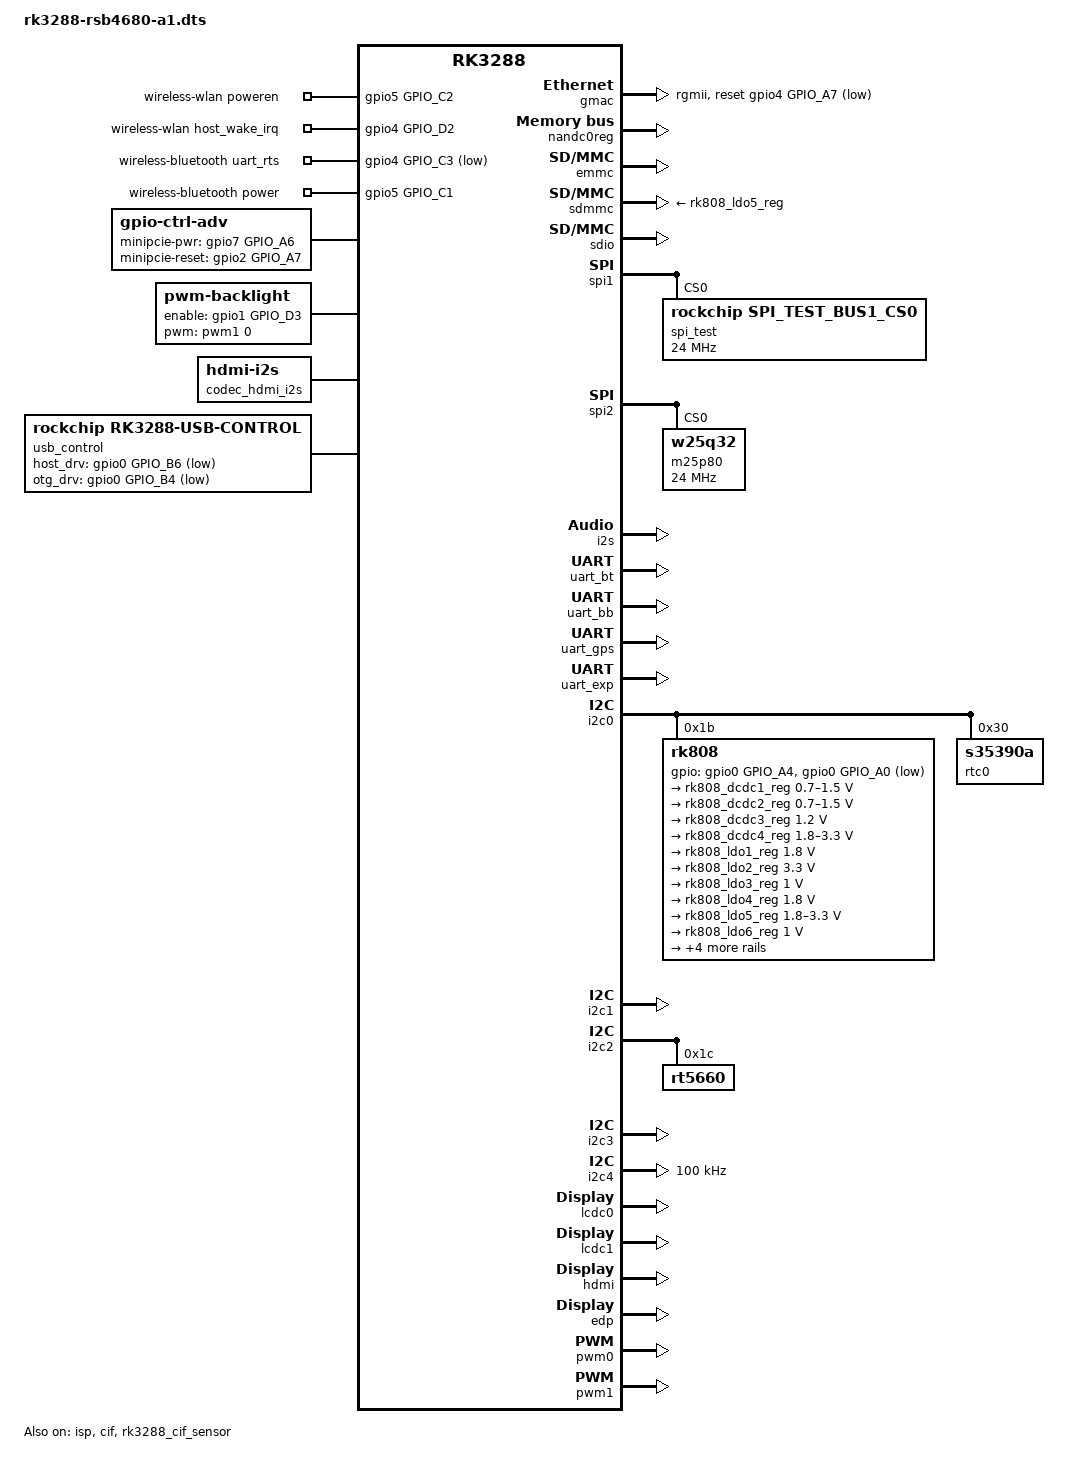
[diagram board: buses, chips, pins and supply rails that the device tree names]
/dts-v1/;

#include "rk3288.dtsi"
//#include "lcd-g070vw01.dtsi"
#include "lcd-g215hvn01.dtsi"
//#include "lcd-ch7517a.dtsi"
//#include "vtl_ts_sdk8846.dtsi"
#include "rk3288-adv-sensor.dtsi"
/ {
	fiq-debugger {
		status = "okay";
		rockchip,baudrate = <115200>;
	};

	wireless-wlan {
		compatible = "wlan-platdata";

		/* wifi_chip_type - wifi chip define
                 * ap6210, ap6330, ap6335
                 * rtl8188eu, rtl8723bs, rtl8723bu
                 * esp8089
		*/
		wifi_chip_type = "ap6212";

		sdio_vref = <1800>; //1800mv or 3300mv

        //keep_wifi_power_on;
/*
        //power_ctrl_by_pmu;
        power_pmu_regulator = "act_ldo3";
        power_pmu_enable_level = <1>; //1->HIGH, 0->LOW

        //vref_ctrl_enable;
        //vref_ctrl_gpio = <&gpio0 GPIO_A2 GPIO_ACTIVE_HIGH>;
        vref_pmu_regulator = "act_ldo3";
        vref_pmu_enable_level = <1>; //1->HIGH, 0->LOW
*/
        WIFI,poweren_gpio = <&gpio5 GPIO_C2 GPIO_ACTIVE_HIGH>;
        WIFI,host_wake_irq = <&gpio4 GPIO_D2 GPIO_ACTIVE_HIGH>;
        //WIFI,reset_gpio = <&gpio0 GPIO_A2 GPIO_ACTIVE_LOW>;

		status = "okay";
	};

	wireless-bluetooth {
		compatible = "bluetooth-platdata";

		//wifi-bt-power-toggle;

		uart_rts_gpios = <&gpio4 GPIO_C3 GPIO_ACTIVE_LOW>;
		pinctrl-names = "default","rts_gpio";
		pinctrl-0 = <&uart0_rts>;
		pinctrl-1 = <&uart0_rts_gpio>;

		BT,power_gpio = <&gpio5 GPIO_C1 GPIO_ACTIVE_HIGH>;
		//BT,reset_gpio = <&gpio4 GPIO_D5 GPIO_ACTIVE_HIGH>;
		//BT,wake_gpio = <&gpio4 GPIO_D2 GPIO_ACTIVE_HIGH>;
		//BT,wake_host_irq = <&gpio4 GPIO_D7 GPIO_ACTIVE_HIGH>;

		status = "okay";
	};

	gpio-ctrl-adv {
	        compatible = "gpio-ctrl-adv";
		minipcie-pwr-gpio = <&gpio7 GPIO_A6 GPIO_ACTIVE_HIGH>;
		minipcie-reset-gpio = <&gpio2 GPIO_A7 GPIO_ACTIVE_HIGH>;
		timing-interval = <10>;
		status = "okay";
	};
	backlight {
		compatible = "pwm-backlight";
		pwms = <&pwm1 0 25000>;
                brightness-levels = <0 1 2 3 4 5 6 7 8 9 10 11 12 13 14 15 16 17 18 19 20 21 22 23 24 25 26 27 28 29 30 31 32 33 34 35 36 37 38 39 40 41 42 43 44 45 46 47 48 49 50 51 52 53 54 55 56 57 58 59 60 61 62 63 64 65 66 67 68 69 70 71 72 73 74 75 76 77 78 79 80 81 82 83 84 85 86 87 88 89 90 91 92 93 94 95 96 97 98 99 100 101 102 103 104 105 106 107 108 109 110 111 112 113 114 115 116 117 118 119 120 121 122 123 124 125 126 127 128 129 130 131 132 133 134 135 136 137 138 139 140 141 142 143 144 145 146 147 148 149 150 151 152 153 154 155 156 157 158 159 160 161 162 163 164 165 166 167 168 169 170 171 172 173 174 175 176 177 178 179 180 181 182 183 184 185 186 187 188 189 190 191 192 193 194 195 196 197 198 199 200 201 202 203 204 205 206 207 208 209 210 211 212 213 214 215 216 217 218 219 220 221 222 223 224 225 226 227 228 229 230 231 232 233 234 235 236 237 238 239 240 241 242 243 244 245 246 247 248 249 250 251 252 253 254 255>;
		default-brightness-level = <200>;
		enable-gpios = <&gpio1 GPIO_D3 GPIO_ACTIVE_HIGH>;
	};

	codec_hdmi_i2s: codec-hdmi-i2s {
		compatible = "hdmi-i2s";
	};

	codec_hdmi_spdif: codec-hdmi-spdif {
		compatible = "hdmi-spdif";
		status = "disabled";
	};

	rockchip-hdmi-i2s {
		compatible = "rockchip-hdmi-i2s";
		dais {
			dai0 {
				audio-codec = <&codec_hdmi_i2s>;
				audio-controller = <&i2s>;
				format = "i2s";
				//continuous-clock;
				//bitclock-inversion;
				//frame-inversion;
				//bitclock-master;
				//frame-master;
			};
		};
	};
	
	rockchip-hdmi-spdif {
		status = "disabled";
		compatible = "rockchip-hdmi-spdif";
		dais {
			dai0 {
				audio-codec = <&codec_hdmi_spdif>;
				audio-controller = <&spdif>;
			};
		};
	};

	rockchip-rt5660 {
		compatible = "rockchip-rt5660";
		dais {
			dai0 {
				audio-codec = <&rt5660>;
				audio-controller = <&i2s>;
				format = "i2s";
				//continuous-clock;
				//bitclock-inversion;
				//frame-inversion;
				//bitclock-master;
				//frame-master;
			};
			dai1 {
				audio-codec = <&rt5660>;
				audio-controller = <&i2s>;
				format = "dsp_a";
				//continuous-clock;
				bitclock-inversion;
				//frame-inversion;
				//bitclock-master;
				//frame-master;
			};
		};
	};

	usb_control {
		compatible = "rockchip,rk3288-usb-control";

		host_drv_gpio = <&gpio0 GPIO_B6 GPIO_ACTIVE_LOW>;
		otg_drv_gpio = <&gpio0 GPIO_B4 GPIO_ACTIVE_LOW>;

		rockchip,remote_wakeup;
		rockchip,usb_irq_wakeup;
	};

	chosen {
		bootargs = "vmalloc=512M";
	};

	key {
		compatible = "rockchip,key";
		//pinctrl-names = "default";
		//pinctrl-0 = <&sleep_btn &power_btn>;

		sleep-key {
			gpios = <&gpio2 GPIO_A2 GPIO_ACTIVE_HIGH>;
			linux,code = <116>;
			label = "power";
			gpio-key,wakeup;
		};

		power-key {
			gpios = <&gpio2 GPIO_A5 GPIO_ACTIVE_LOW>;
			linux,code = <116>;
			label = "power";
			gpio-key,wakeup;
		};
	};		
};

&gmac {
//	power_ctl_by = "gpio";	//"gpio" "pmu"
//	power-gpio = <&gpio0 GPIO_A6 GPIO_ACTIVE_HIGH>;
//	power-pmu = "act_ldo"
	reset-gpio = <&gpio4 GPIO_A7 GPIO_ACTIVE_LOW>;
	phy-mode = "rgmii";
	clock_in_out = "input";//"input";
	tx_delay = <0>;//<0x28>;
	rx_delay = <0>;//<0x10>;
	status = "okay";
};

&pinctrl {
	//pinctrl-names = "default";
	//pinctrl-0 = <&bklt_en &lvds_vdd_en &wdt_pwn &wdt_en &gpio8_a0 &gpio8_a1 &gpio8_a2 &gpio8_a3>;

	//used for init some gpio
	init-gpios =</*&gpio0 GPIO_C2 GPIO_ACTIVE_HIGH */
			/*&gpio7 GPIO_B7 GPIO_ACTIVE_LOW */>;

	power_pin {
		sleep_btn:gpio2-a2 {
			rockchip,pins = <GPIO2_A2>;
			rockchip,pull = <VALUE_PULL_DOWN>;
		};

		power_btn:gpio2-a5 {
			rockchip,pins = <GPIO2_A5>;
			rockchip,pull = <VALUE_PULL_UP>;
		};
	};

	c8051_pin {
		wdt_pwn:gpio2-a4 {
			rockchip,pins = <GPIO2_A4>;
			rockchip,pull = <VALUE_PULL_DOWN>;
		};

		wdt_en:gpio2-a3 {
			rockchip,pins = <GPIO2_A3>;
			rockchip,pull = <VALUE_PULL_DOWN>;
		};
	};

	//could add other pinctrl definition such as gpio
	//lvds power gpio pinmux
	lvds_power_pin {
		bklt_en:gpio1_d3 {
			rockchip,pins = <GPIO1_D3>;
			rockchip,pull = <VALUE_PULL_DOWN>;
		};

		lvds_vdd_en:gpio1_d2 {
			rockchip,pins = <GPIO1_D2>;
			rockchip,pull = <VALUE_PULL_DOWN>;
		};
	};

	//minipcie power gpio pinmux
	minipcie_pin {
		minipcie_reset:gpio2_a7 {
			rockchip,pins = <GPIO2_A7>;
			rockchip,pull = <VALUE_PULL_DOWN>;
		};

		minipcie_dis:gpio2_b1 {
			rockchip,pins = <GPIO2_B1>;
			rockchip,pull = <VALUE_PULL_DOWN>;
		};
	};

	//M.2 power gpio pinmux
	m2_pin {
		m2_dis1:gpio5-c3 {
			rockchip,pins = <GPIO5_C3>;
			rockchip,pull = <VALUE_PULL_UP>;
		};

		m2_dis2:gpio5-c1 {
			rockchip,pins = <GPIO5_C1>;
			rockchip,pull = <VALUE_PULL_UP>;
		};

		m2_poweren:gpio4-d4 {
			rockchip,pins = <GPIO4_D4>;
			rockchip,pull = <VALUE_PULL_DOWN>;
		};

		m2_reset:gpio5-c2 {
			rockchip,pins = <GPIO5_C2>;
			rockchip,pull = <VALUE_PULL_UP>;
		};

		m2_sdio_wake:gpio4-d2 {
			rockchip,pins = <GPIO4_D2>;
			rockchip,pull = <VALUE_PULL_DOWN>;
		};

		m2_int:gpio4-d6 {
			rockchip,pins = <GPIO4_D6>;
			rockchip,pull = <VALUE_PULL_DOWN>;
		};
	};

	//normal user gpio pinmux
	normal_gpio_pin {
		gpio8_a0:gpio8-a0 {
			rockchip,pins = <GPIO8_A0>;
			rockchip,pull = <VALUE_PULL_DOWN>;
		};

		gpio8_a1:gpio8-a1 {
			rockchip,pins = <GPIO8_A1>;
			rockchip,pull = <VALUE_PULL_DOWN>;
		};

		gpio8_a2:gpio8-a2 {
			rockchip,pins = <GPIO8_A2>;
			rockchip,pull = <VALUE_PULL_DOWN>;
		};

		gpio8_a3:gpio8-a3 {
			rockchip,pins = <GPIO8_A3>;
			rockchip,pull = <VALUE_PULL_DOWN>;
		};

		/*default gpio,so donot config pinmux
		gpio7_a3:gpio3-a3 {
			rockchip,pins = <GPIO7_A3>;
			rockchip,pull = <VALUE_PULL_DOWN>;
		};

		gpio7_a4:gpio3-a4 {
			rockchip,pins = <GPIO7_A4>;
			rockchip,pull = <VALUE_PULL_DOWN>;
		};

		gpio7_a5:gpio3-a5 {
			rockchip,pins = <GPIO7_A5>;
			rockchip,pull = <VALUE_PULL_DOWN>;
		};

		gpio7_c5:gpio3-c5 {
			rockchip,pins = <GPIO3_C5>;
			rockchip,pull = <VALUE_PULL_DOWN>;
		};
		*/
	};

	//EDP config
	edp_pin {
		edp_hdp:edp_hdp {
			rockchip,pins = <EDP_HOTPLUG>;
			rockchip,pull = <VALUE_PULL_DISABLE>;
			rockchip,drive = <VALUE_DRV_DEFAULT>;
		};
	};

	//I2S mute config
	i2s_mute_pin {
		i2s_shutdown:gpio6-a5 {
			rockchip,pins = <GPIO6_A5>;
			rockchip,pull = <VALUE_PULL_DISABLE>;
		};

		i2s_mute:gpio6-a6 {
			rockchip,pins = <GPIO6_A6>;
			rockchip,pull = <VALUE_PULL_DISABLE>;
		};
	};

	uart4_sel_pin {
		uart4_sel:gpio5-c0 {
			rockchip,pins = <GPIO5_C0>;
			rockchip,pull = <VALUE_PULL_DISABLE>;
		};
	};

	reserve_gpio_pin {
		uart3_rtsn:gpio2-b2 {
			rockchip,pins = <GPIO2_B2>;
			rockchip,pull = <VALUE_PULL_DOWN>;
		};

		c8051_reserve:gpio2-a6 {
			rockchip,pins = <GPIO2_A6>;
			rockchip,pull = <VALUE_PULL_DOWN>;
		};

		m2_alert:gpio2-b0 {
			rockchip,pins = <GPIO2_B0>;
			rockchip,pull = <VALUE_PULL_DOWN>;
		};

		m2_wake:gpio6-a7 {
			rockchip,pins = <GPIO6_A7>;
			rockchip,pull = <VALUE_PULL_DOWN>;
		};

		m2_reserve:gpio6-b3 {
			rockchip,pins = <GPIO6_B3>;
			rockchip,pull = <VALUE_PULL_DOWN>;
		};
	};

	usb_oc {
		/*default gpio,so donot config pinmux
		usb12_oc:GPIO7-A2 {
			rockchip,pins = <GPIO7_A2>;
			rockchip,pull = <VALUE_PULL_DOWN>;
		};
		*/
		usb34_oc:GPIO1-D0 {
			rockchip,pins = <GPIO1_D0>;
			rockchip,pull = <VALUE_PULL_DOWN>;
		};
		usb5_oc:GPIO1-D1 {
			rockchip,pins = <GPIO1_D1>;
			rockchip,pull = <VALUE_PULL_DOWN>;
		};
	};

	otg {
		/*default gpio,so donot config pinmux
		usb_int:GPIO0-C2 {
			rockchip,pins = <GPIO0_C2>;
			rockchip,pull = <VALUE_PULL_DOWN>;
		};
		*/
	};

	// gmac drive strength
	gpio4_gmac {
		mac_clk: mac-clk {
			rockchip,drive = <VALUE_DRV_12MA>;
		};

		mac_txpins: mac-txpins {
			rockchip,drive = <VALUE_DRV_12MA>;
		};

		mac_rxpins: mac-rxpins {
			rockchip,drive = <VALUE_DRV_12MA>;
		};

		mac_crs: mac-crs {
			rockchip,drive = <VALUE_DRV_12MA>;
		};

		mac_mdpins: mac-mdpins {
			rockchip,drive = <VALUE_DRV_12MA>;
		};
	};
};

&nandc0 {
	status = "disabled"; // used nand set "disabled" ,used emmc set "okay"
};
&nandc1 {
	status = "disabled"; // used nand set "disabled" ,used emmc set "okay"
};   

&nandc0reg {
	status = "okay"; // used nand set "disabled" ,used emmc set "okay"
};

&emmc {
	clock-frequency = <100000000>;
	clock-freq-min-max = <400000 100000000>;

	supports-highspeed;
	supports-emmc;
	//supports-sd;
	bootpart-no-access;

	//supports-DDR_MODE; //you should set the two value in your project. only close in RK3288-SDK board.
	//caps2-mmc-hs200;

	ignore-pm-notify;
	keep-power-in-suspend;

	//poll-hw-reset 
	status = "okay";
};

&sdmmc {
	clock-frequency = <50000000>;
	clock-freq-min-max = <400000 50000000>;
	supports-highspeed;
	supports-sd;
	broken-cd;
	card-detect-delay = <200>;

	ignore-pm-notify;
	keep-power-in-suspend;

	vmmc-supply = <&rk808_ldo5_reg>;
	status = "okay";
};

&sdio {
	clock-frequency = <50000000>;
	clock-freq-min-max = <200000 50000000>;
	supports-highspeed;
	supports-sdio;
	ignore-pm-notify;
	keep-power-in-suspend;
	//cap-sdio-irq;
	status = "okay";
};

&spi0 {
	status = "disabled";
	max-freq = <48000000>;	
	/*
	spi_test@00 {
		compatible = "rockchip,spi_test_bus0_cs0";
		reg = <0>;
		spi-max-frequency = <24000000>;
		//spi-cpha;
		//spi-cpol;
		poll_mode = <0>;
		type = <0>;
		enable_dma = <0>;

	};

	spi_test@01 {
		compatible = "rockchip,spi_test_bus0_cs1";
		reg = <1>;
		spi-max-frequency = <24000000>;
		spi-cpha;
		spi-cpol;
		poll_mode = <0>;
		type = <0>;
		enable_dma = <0>;	        
	};
	*/
};

&spi1 {
	status = "okay";
	max-freq = <48000000>;
	spi_test@10 {
		compatible = "rockchip,spi_test_bus1_cs0";
		reg = <0>;
		spi-max-frequency = <24000000>;
		//spi-cpha;
		//spi-cpol;
		poll_mode = <0>;
		type = <0>;
		enable_dma = <0>;
	};
};

&spi2 {
	status = "okay";
	max-freq = <48000000>;
	m25p80@0 {
		compatible = "w25q32";
		spi-max-frequency = <24000000>;
		reg = <0>;	/* CS address. */
		spi-cpol;
		spi-cpha;
	};
};

&i2s {
	status = "okay";
	rockchip,pwr18 = <1>;
	power-gpio = <&gpio6 GPIO_A5 GPIO_ACTIVE_HIGH>;
	mute-gpio = <&gpio6 GPIO_A6 GPIO_ACTIVE_HIGH>;
};

&uart_bt {
        status = "okay";
        dma-names = "!tx", "!rx";
        pinctrl-0 = <&uart0_xfer &uart0_cts>;
};

&uart_bb {
	status = "okay";
};

&uart_gps {
	status = "okay";
};

&uart_exp {
	status = "okay";
	func-sel-gpio = <&gpio5 GPIO_C0 GPIO_ACTIVE_HIGH>;
	pinctrl-0 = <&uart4_xfer &uart4_cts &uart4_rts &uart4_sel>;
};

&i2c0 {
	status = "okay";
	rk808: rk808@1b {
		reg = <0x1b>;
		status = "okay";
	};

	rtc0: rtc@30  {
		compatible = "s35390a";
		reg = <0x30>;
	};
};

&i2c1 {
	status = "okay";
};

&i2c2 {
	status = "okay";

	rt5660: rt5660@1c {
		compatible = "rt5660";
		reg = <0x1c>;
	//	codec-en-gpio = <0>;//sdk default high level
		spk-num= <2>;
		modem-input-mode = <1>;
		lout-to-modem_mode = <1>;
		spk-amplify = <2>;
		playback-if1-data_control = <0>;
		playback-if2-data_control = <0>;
	};
};

&i2c3 {
	status = "okay";
};

&i2c4 {
	status = "okay";
	clock-frequency = <100000>;
	/*
	c8051f396@29 {
		compatible = "c8051-wdt-i2c";
		reg = <0x29>;
		shutdown-time=<6>;
		default-enable=<1>;
		wdt-pwm = <&gpio2 GPIO_A4 GPIO_ACTIVE_HIGH>;
		wdt-en = <&gpio2 GPIO_A3 GPIO_ACTIVE_HIGH>;
	};*/
};

&i2c5 {
	status = "disabled";
};

&fb {
	rockchip,disp-mode = <DUAL>;
	rockchip,uboot-logo-on = <1>;
};

&rk_screen {
	 display-timings = <&disp_timings>;
};

/*lcdc0 as PRMRY(LCD),lcdc1 as EXTEND(HDMI)*/
&lcdc0 {
	status = "okay";
	rockchip,mirror = <NO_MIRROR>;
	rockchip,cabc_mode = <0>;
	power_ctr: power_ctr {
		rockchip,debug = <0>;
		lcd_en:lcd_en {
			rockchip,power_type = <GPIO>;
			gpios = <&gpio1 GPIO_D2 GPIO_ACTIVE_HIGH>;
			rockchip,delay = <10>;
		};
	};
};

&lcdc1 {
	status = "okay";
	rockchip,mirror = <NO_MIRROR>;
};

&hdmi {
	status = "okay";
	rockchip,hdmi_video_source = <DISPLAY_SOURCE_LCDC1>;
};

&edp {
	status = "okay";
	lane_count = <2>;
	pinctrl-names = "default";
	pinctrl-0 = <&edp_hdp>;
};

&ps2c {
	status = "disabled";
};

&adc {
	status = "disabled";
};

&pwm0 {
        status = "okay";
};

&pwm1 {
	status = "okay";
};

&clk_core_dvfs_table {
        support-pvtm = <1>;
        pvtm-operating-points = <
                /* KHz    uV    margin(uV)*/
                //126000 900000   25000
                //216000 900000   25000
                //312000 900000   25000
                408000 900000   25000
                600000 900000   25000
                696000 950000   25000
                816000 1000000  25000
                1008000 1050000 25000
                1200000 1100000 25000
                1416000 1200000 25000
                1512000 1300000 25000
                1608000 1350000 25000
                >;
	status="okay";
};

&clk_gpu_dvfs_table {
	operating-points = <
		/* KHz    uV */
		100000 850000
		200000 900000
		300000 950000
		420000 1050000
		500000 1150000
		>;
	status="okay";
};

&clk_ddr_dvfs_table {
	operating-points = <
		/* KHz    uV */
		200000 1050000
		300000 1050000
		400000 1100000
		533000 1150000
		>;

	freq-table = <
		/*status		freq(KHz)*/
		SYS_STATUS_NORMAL	400000
		SYS_STATUS_SUSPEND	200000
		SYS_STATUS_VIDEO_1080P  240000
		SYS_STATUS_VIDEO_4K     400000
		SYS_STATUS_PERFORMANCE  528000
		SYS_STATUS_DUALVIEW	400000
		SYS_STATUS_BOOST	324000
		SYS_STATUS_ISP		533000
		>;
	bd-freq-table = <
		/* bandwidth   freq */
		5000           800000
		3500           456000
		2600           396000
		2000           324000
		>;
	auto-freq-table = <
		240000
		324000
		396000
		528000
		>;
	auto-freq=<1>;
	status="okay";
};

/include/ "rk808.dtsi"
&rk808 {
	gpios =<&gpio0 GPIO_A4 GPIO_ACTIVE_HIGH>,<&gpio0 GPIO_A0 GPIO_ACTIVE_LOW>;
	rk808,system-power-controller;

	regulators {
		
		rk808_dcdc1_reg: regulator@0{
			regulator-name= "vdd_arm";
			regulator-min-microvolt = <700000>;
			regulator-max-microvolt = <1500000>;
			regulator-always-on;
			regulator-boot-on;
			regulator-initial-mode = <0x2>;
			regulator-initial-state = <3>;
			regulator-state-mem {
				regulator-state-mode = <0x2>;
				regulator-state-enabled;
				regulator-state-uv = <1100000>;
			};
		};

		rk808_dcdc2_reg: regulator@1 {
			regulator-name= "vdd_gpu";
			regulator-min-microvolt = <700000>;
			regulator-max-microvolt = <1500000>;
			/*regulator-always-on;*/
			/*regulator-boot-on;*/
			regulator-initial-mode = <0x2>;
			regulator-initial-state = <3>;
			regulator-state-mem {
				regulator-state-mode = <0x2>;
				regulator-state-enabled;
				regulator-state-uv = <1100000>;
			};
		};

		rk808_dcdc3_reg: regulator@2 {
			regulator-name= "rk_dcdc3";
			regulator-min-microvolt = <1200000>;
			regulator-max-microvolt = <1200000>;
			regulator-always-on;
			regulator-boot-on;
			regulator-initial-mode = <0x2>;
			regulator-initial-state = <3>;
			regulator-state-mem {
				regulator-state-mode = <0x2>;
				regulator-state-enabled;
				regulator-state-uv = <1200000>;
			};
		};

		rk808_dcdc4_reg: regulator@3 {
			regulator-name= "vccio";
			regulator-min-microvolt = <1800000>;
			regulator-max-microvolt = <3300000>;
			regulator-always-on;
			regulator-boot-on;
			regulator-initial-mode = <0x2>;
			regulator-initial-state = <3>;
			regulator-state-mem {
				regulator-state-mode = <0x2>;
				regulator-state-enabled;
				regulator-state-uv = <3300000>;
			};
		};

		rk808_ldo1_reg: regulator@4 {
			regulator-name= "rk_ldo1";
			regulator-min-microvolt = <1800000>;
			regulator-max-microvolt = <1800000>;
			regulator-always-on;
			regulator-boot-on;
			regulator-initial-state = <3>;
			regulator-state-mem {
				regulator-state-enabled;
				regulator-state-uv = <1800000>;
			};
		};

		rk808_ldo2_reg: regulator@5 {
			regulator-name= "rk_ldo2";
			regulator-min-microvolt = <3300000>;
			regulator-max-microvolt = <3300000>;
			regulator-always-on;
			regulator-boot-on;
			regulator-initial-state = <3>;
			regulator-state-mem {
				regulator-state-enabled;
				regulator-state-uv = <3300000>;
			};
		};

		rk808_ldo3_reg: regulator@6 {
			regulator-name= "rk_ldo3";
			regulator-min-microvolt = <1000000>;
			regulator-max-microvolt = <1000000>;
			regulator-always-on;
			regulator-boot-on;
			regulator-initial-state = <3>;
			regulator-state-mem {
				regulator-state-enabled;
				regulator-state-uv = <1000000>;
			};
		};

		rk808_ldo4_reg:regulator@7 {
			regulator-name= "rk_ldo4";
			regulator-min-microvolt = <1800000>;
			regulator-max-microvolt = <1800000>;
			regulator-always-on;
			regulator-boot-on;
			regulator-initial-state = <3>;
			regulator-state-mem {
				regulator-state-disabled;
				regulator-state-uv = <1800000>;
			};
		};

		rk808_ldo5_reg: regulator@8 {
			regulator-name= "vcc_sd";
			regulator-min-microvolt = <1800000>;
			regulator-max-microvolt = <3300000>;
			regulator-always-on;
			regulator-boot-on;
			regulator-initial-state = <3>;
			regulator-state-mem {
				regulator-state-enabled;
				regulator-state-uv = <3300000>;
			};
		};

		rk808_ldo6_reg: regulator@9 {
			regulator-name= "rk_ldo6";
			regulator-min-microvolt = <1000000>;
			regulator-max-microvolt = <1000000>;
			regulator-always-on;
			regulator-boot-on;
			regulator-initial-state = <3>;
			regulator-state-mem {
				regulator-state-disabled;
				regulator-state-uv = <1000000>;
			};
		};

		rk808_ldo7_reg: regulator@10 {
			regulator-name= "rk_ldo7";
			regulator-min-microvolt = <1800000>;
			regulator-max-microvolt = <1800000>;
			regulator-always-on;
			regulator-boot-on;
			regulator-initial-state = <3>;
			regulator-state-mem {
				regulator-state-enabled;
				regulator-state-uv = <1800000>;
			};
		};

		rk808_ldo8_reg: regulator@11 {
			regulator-name= "rk_ldo8";
			regulator-min-microvolt = <1800000>;
			regulator-max-microvolt = <1800000>;
			regulator-always-on;
			regulator-boot-on;
			regulator-initial-state = <3>;
			regulator-state-mem {
				regulator-state-enabled;
				regulator-state-uv = <1800000>;
			};
		};

		rk808_ldo9_reg: regulator@12 {
			regulator-name= "rk_ldo9";
			regulator-always-on;
			regulator-boot-on;
			regulator-initial-state = <3>;
			regulator-state-mem {
				regulator-state-enabled;
			};
		};

		rk808_ldo10_reg: regulator@13 {
			regulator-name= "rk_ldo10";
			regulator-always-on;
			regulator-boot-on;
			regulator-initial-state = <3>;
			regulator-state-mem {
				regulator-state-disabled;
			};
		};
	};
};

&lcdc_vdd_domain {
	regulator-name = "vcc30_lcd";
	};
&dpio_vdd_domain{
	regulator-name = "vcc18_cif";	
	};
&flash0_vdd_domain{
	regulator-name = "vcc_flash";	
	};
&flash1_vdd_domain{
	regulator-name = "vcc_flash";			
	};
&apio3_vdd_domain{
	regulator-name = "vccio_wl";		
	};
&apio5_vdd_domain{
	regulator-name = "vccio";		
	};
&apio4_vdd_domain{
	regulator-name = "rk_ldo4";		
	};
&apio1_vdd_domain{
	regulator-name = "vccio";			
	};
&apio2_vdd_domain{
	regulator-name = "vccio";		
	};
&sdmmc0_vdd_domain{
	regulator-name = "vcc_sd";			
	};

&dwc_control_usb {
	usb_uart {
		status = "disabled";
	};
};

&isp{
	/delete-property/ rockchip,gpios;
	status = "okay";
};

&cif{
	status = "okay";
};

&rk3288_cif_sensor{
	status = "okay";
};
